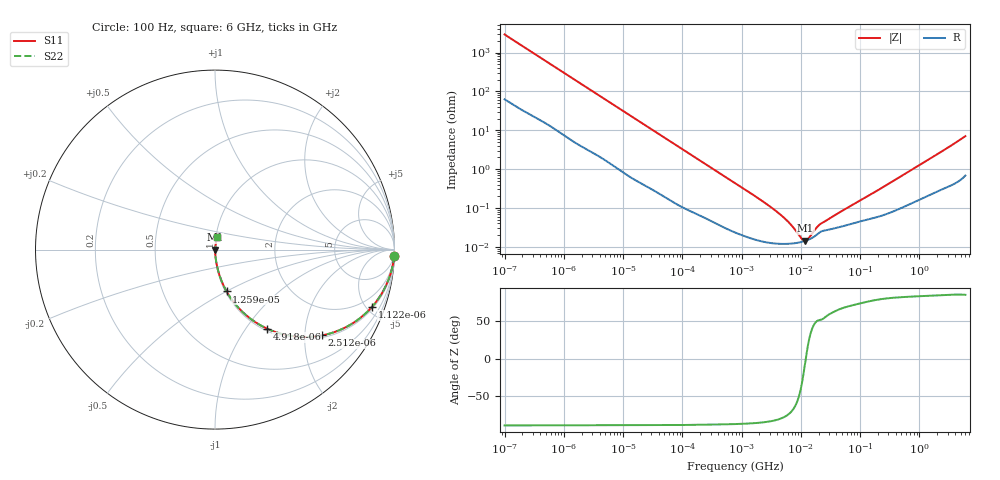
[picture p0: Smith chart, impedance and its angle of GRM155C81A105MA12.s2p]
!Murata Part Number: GRM155C81A105MA12
!These Parameters are Measured in Series Mode Connection
!Data Generated on Mar 30, 2021
!  o--ll--o
!Port1  Port2
!  o------o
!Operation Temp=25[degC], DC Bias Voltage=0[V]
!Freq. Start=100[Hz] Stop=6[GHz] 401[Steps]
# Hz S RI R 50
!Freq.(Hz) S11(Real) S11(Imag) S21(Real) S21(Imag) S12(Real) S12(Imag) S22(Real) S22(Imag)
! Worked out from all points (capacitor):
!   401 points, 100 Hz to 6 GHz, reference 50 ohm
!   read as one part in series: C = 542 nF near 109 Hz
!   lowest |Z| = 14.3 mohm at 11.89 MHz (marker M1)
!   series resonance near 12.14 MHz, so ESL is about 320 pH
!   S11 on the Smith chart (normalised r, x): 100 Hz: 2, -58; 1.122 kHz: 1.13, -5.41; 2.512 kHz: 1.06, -2.44; 4.918 kHz: 1.03, -1.26; 12.59 kHz: 1.01, -0.50; 6 GHz: 1.01, +0.14
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100  0.9981 -0.0341  0.0019 0.0341  0.0019 0.0341  0.9981 -0.0341
383  0.9808 -0.1256  0.0192 0.1256  0.0192 0.1256  0.9808 -0.1256
1122  0.8739 -0.32  0.1261 0.32  0.1261 0.32  0.8739 -0.32
2008  0.6946 -0.4483  0.3054 0.4483  0.3054 0.4483  0.6946 -0.4483
2512  0.5967 -0.4779  0.4033 0.4779  0.4033 0.4779  0.5967 -0.4779
3437  0.4481 -0.4841  0.5519 0.4841  0.5519 0.4841  0.4481 -0.4841
4918  0.2908 -0.4407  0.7092 0.4407  0.7092 0.4407  0.2908 -0.4407
7695  0.1488 -0.343  0.8512 0.343  0.8512 0.343  0.1488 -0.343
12592  0.0645 -0.233  0.9355 0.233  0.9355 0.233  0.0645 -0.233
40335  0.00863 -0.0789  0.9914 0.0789  0.9914 0.0789  0.00863 -0.0789
129199  0.00151 -0.0254  0.9985 0.0254  0.9985 0.0254  0.00151 -0.0254
774597  0.000254 -0.00439  0.9997 0.00439  0.9997 0.00439  0.000254 -0.00439
4246196  0.00012 -0.000723  0.9999 0.000723  0.9999 0.000723  0.00012 -0.000723
6644369  0.000121 -0.000368  0.9999 0.000368  0.9999 0.000368  0.000121 -0.000368
1.039699e7  0.000134 -8.89e-05  0.9999 8.89e-05  0.9999 8.89e-05  0.000134 -8.89e-05
1.189169e7  0.000142 -1.16e-05  0.9999 1.16e-05  0.9999 1.16e-05  0.000142 -1.16e-05
1.300572e7  0.00015 3.95e-05  0.9999 -3.95e-05  0.9999 -3.95e-05  0.00015 3.95e-05
1.555665e7  0.00017 0.000141  0.9998 -0.000141  0.9998 -0.000141  0.00017 0.000141
1.86079e7  0.000206 0.00024  0.9998 -0.00024  0.9998 -0.00024  0.000206 0.00024
2.225763e7  0.00025 0.000316  0.9997 -0.000316  0.9997 -0.000316  0.00025 0.000316
3.124326e8  0.000761 0.00425  0.9992 -0.00425  0.9992 -0.00425  0.000761 0.00425
6e9  0.0116 0.0692  0.9884 -0.0692  0.9884 -0.0692  0.0116 0.0692
